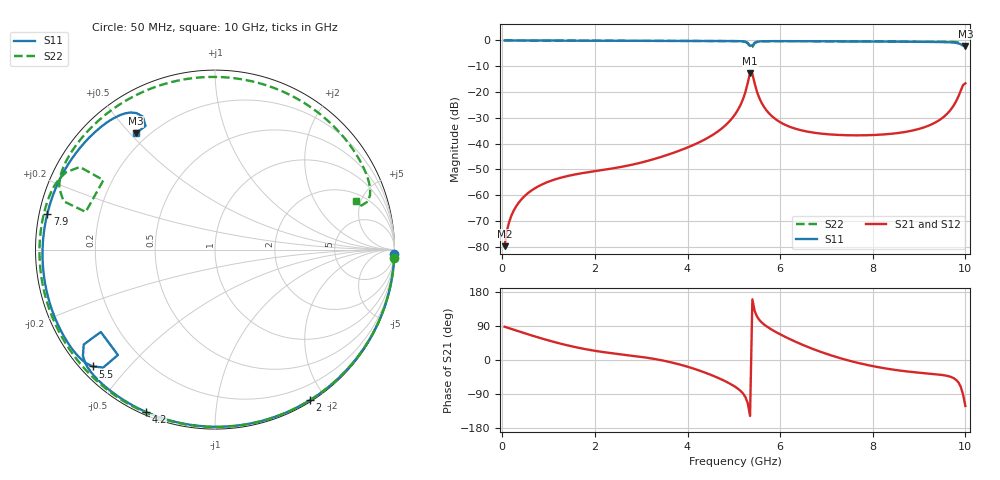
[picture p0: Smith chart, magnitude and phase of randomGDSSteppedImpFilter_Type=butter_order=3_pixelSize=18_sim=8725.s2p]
! freq	dB(S11)	phase(S11)	dB(S12)	phase(S12)
!  dB(S21)	phase(S21)	dB(S22)	phase(S22)
!S-par simulation data
#  GHz  S  DB  R 50
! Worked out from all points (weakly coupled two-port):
!   200 points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, 50 MHz to 10 GHz, reference 50 ohm
!   highest |S21| = -12.67 dB at 5.35 GHz (marker M1); lowest = -79.8 dB at 50 MHz (marker M2)
!   lowest |S11| = -2.1 dB at 10 GHz (marker M3), VSWR 8.26, Z = 7.71 + j25.9 ohm
!   |S11| at or under -10 dB: nowhere
!   |S22| runs from -2.7 to 0.0 dB; largest |S21 - S12| = 0
!   S11 on the Smith chart (normalised r, x): 50 MHz: 0, -76; 2 GHz: 0.02, -1.81; 4.2 GHz: 0.01, -0.66; 5.5 GHz: 0.03, -0.40; 7.9 GHz: 0.02, +0.10; 10 GHz: 0.15, +0.52
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0.05  -0.00 -1.5  -79.81 87.8  -79.81 87.8  -0.00 -2.6
0.1  -0.00 -3.0  -73.80 85.8  -73.80 85.8  -0.01 -5.2
0.2  -0.01 -6.0  -67.81 81.9  -67.81 81.9  -0.01 -10.3
0.5  -0.02 -14.9  -60.07 70.0  -60.07 70.0  -0.03 -25.5
1.15  -0.04 -33.9  -53.84 46.6  -53.84 46.6  -0.07 -57.1
1.75  -0.06 -50.9  -51.41 29.7  -51.41 29.7  -0.10 -83.9
2  -0.07 -57.7  -50.71 24.3  -50.71 24.3  -0.10 -94.2
3.4  -0.12 -94.0  -45.35 0.2  -45.35 0.2  -0.15 -145.1
4.2  -0.15 -113.2  -39.96 -25.5  -39.96 -25.5  -0.18 -170.6
5.05  -0.23 -133.8  -28.04 -72.4  -28.04 -72.4  -0.27 162.2
5.2  -0.35 -138.8  -22.68 -88.7  -22.68 -88.7  -0.41 155.7
5.35  -2.11 -144.2  -12.67 -147.8  -12.67 -147.8  -2.71 148.1
5.4  -1.96 -132.6  -12.97 160.1  -12.97 160.1  -2.49 163.8
5.5  -0.51 -136.3  -19.91 114.6  -19.91 114.6  -0.60 158.5
5.65  -0.30 -141.9  -25.74 94.0  -25.74 94.0  -0.33 151.0
5.9  -0.26 -148.4  -30.52 74.4  -30.52 74.4  -0.28 142.3
6.7  -0.30 -166.1  -35.71 29.5  -35.71 29.5  -0.30 118.0
7.9  -0.40 168.0  -36.76 -13.7  -36.76 -13.7  -0.35 81.8
8.35  -0.44 158.1  -36.30 -23.8  -36.30 -23.8  -0.37 67.9
9.45  -0.61 132.0  -30.75 -38.7  -30.75 -38.7  -0.46 33.6
9.7  -0.76 125.0  -26.47 -45.2  -26.47 -45.2  -0.54 25.2
10  -2.11 124.3  -16.64 -121.5  -16.64 -121.5  -1.62 19.2
